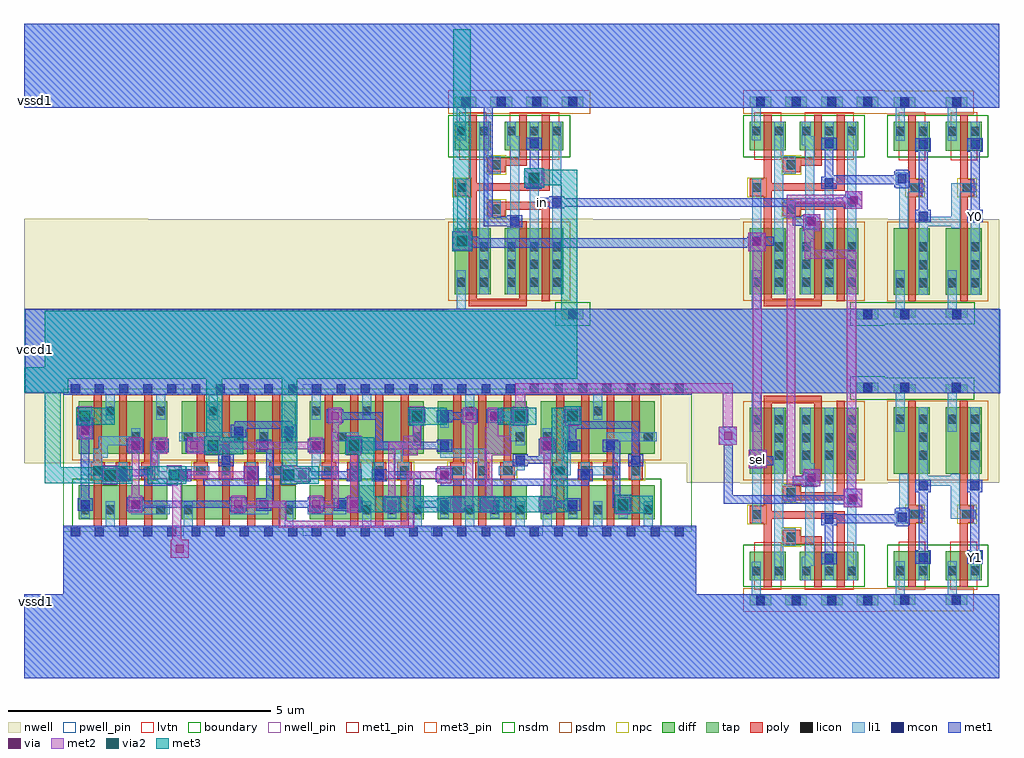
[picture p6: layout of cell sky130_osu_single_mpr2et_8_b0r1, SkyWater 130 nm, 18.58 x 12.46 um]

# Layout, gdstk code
import gdstk
lib = gdstk.Library(unit=1e-6, precision=1e-09)
def R(c, l, rs):  # rectangles x0, y0, x1, y1
    for r in rs: c.add(gdstk.rectangle(r[:2], r[2:], *l))
def A(c, l, x, y, w, h, nx, ny, dx, dy):  # array of equal rectangles
    R(c, l, [(x+i*dx, y+j*dy, x+i*dx+w, y+j*dy+h) for i in range(nx) for j in range(ny)])
nwell_pin = (64, 16)
nwell = (64, 20)
diff = (65, 20)
tap = (65, 44)
poly = (66, 20)
licon = (66, 44)
li1 = (67, 20)
mcon = (67, 44)
met1_pin = (68, 16)
met1 = (68, 20)
via = (68, 44)
met2 = (69, 20)
via2 = (69, 44)
met3_pin = (70, 16)
met3 = (70, 20)
nsdm = (93, 44)
psdm = (94, 20)
npc = (95, 20)
pwell_pin = (122, 16)
lvtn = (125, 44)
boundary = (235, 4)

sky130_osu_sc_12t_hs__mu = lib.new_cell('sky130_osu_sc_12T_hs__mux2_1')
R(sky130_osu_sc_12t_hs__mu, nwell, [(-0.05,2.42,2.76,4.51)])
R(sky130_osu_sc_12t_hs__mu, diff, [(0.13,0.57,0.815,1.12), (1.085,0.57,2.2,1.12), (0.13,2.6,0.815,3.86), (1.085,2.6,2.2,3.86)])
A(sky130_osu_sc_12t_hs__mu, tap, 0.13, 0.1, 0.41, 0.2, 4, 1, 0.68, 0)
R(sky130_osu_sc_12t_hs__mu, tap, [(2.17,4.13,2.58,4.33)])
R(sky130_osu_sc_12t_hs__mu, poly, [(0.4,0.44,0.55,1.66), (1.355,0.44,1.505,1.26), (1.785,0.44,1.935,1.74), (0.76,1.26,1.505,1.41), (0.76,1.41,1.095,1.53), (0.13,1.66,0.55,1.74), (0.13,1.74,1.935,1.89), (0.13,1.89,0.55,1.99), (0.4,1.99,0.55,3.94), (0.76,2.1,1.935,2.25), (0.76,2.25,1.095,2.37), (1.785,2.25,1.935,3.99), (1.355,2.47,1.505,3.94), (0.4,3.94,1.505,4.09)])
A(sky130_osu_sc_12t_hs__mu, licon, 0.25, 0.13, 0.17, 0.17, 4, 1, 0.68, 0)
A(sky130_osu_sc_12t_hs__mu, licon, 0.605, 2.865, 0.17, 0.17, 1, 3, 0, 0.34)
A(sky130_osu_sc_12t_hs__mu, licon, 1.125, 2.865, 0.17, 0.17, 1, 3, 0, 0.34)
A(sky130_osu_sc_12t_hs__mu, licon, 1.56, 2.865, 0.17, 0.17, 1, 3, 0, 0.34)
A(sky130_osu_sc_12t_hs__mu, licon, 1.99, 2.865, 0.17, 0.17, 1, 3, 0, 0.34)
R(sky130_osu_sc_12t_hs__mu, licon, [(0.17,0.665,0.34,0.835), (0.605,0.665,0.775,0.835), (1.125,0.665,1.295,0.835), (1.56,0.665,1.73,0.835), (1.99,0.665,2.16,0.835), (0.84,1.31,1.01,1.48), (0.18,1.74,0.35,1.91), (0.84,2.15,1.01,2.32), (0.17,3.545,0.34,3.715), (2.29,4.13,2.46,4.3)])
R(sky130_osu_sc_12t_hs__mu, li1, [(0,0,2.75,0.3), (0.17,0.3,0.34,0.93), (0.6,0.57,0.775,1.06), (1.125,0.57,1.295,0.85), (1.555,0.57,1.73,1.08), (1.985,0.57,2.16,1.12), (1.125,0.85,1.355,1.02), (1.185,1.02,1.355,2.63), (0.6,1.06,0.77,1.23), (1.985,1.12,2.155,2.72), (0.6,1.23,1.01,1.56), (0.6,1.56,0.77,2.07), (1.555,1.65,1.725,2.6), (0.18,1.66,0.35,2.93), (0.6,2.07,1.01,2.4), (0.6,2.4,0.77,2.6), (0.6,2.6,0.775,3.86), (1.555,2.6,1.73,3.86), (1.125,2.63,1.355,2.8), (1.985,2.72,2.16,3.86), (1.125,2.8,1.295,3.86), (0.17,3.4,0.34,4.13), (0,4.13,2.75,4.44)])
A(sky130_osu_sc_12t_hs__mu, mcon, 0.25, 0.1, 0.17, 0.17, 4, 1, 0.68, 0)
R(sky130_osu_sc_12t_hs__mu, mcon, [(1.555,0.91,1.725,1.08), (1.555,1.65,1.725,1.82), (1.985,2.02,2.155,2.19), (1.185,2.38,1.355,2.55), (0.18,2.76,0.35,2.93), (2.29,4.16,2.46,4.33)])
R(sky130_osu_sc_12t_hs__mu, met1, [(0,0,2.75,0.3), (1.495,0.88,1.785,1.11), (1.555,1.11,1.725,1.62), (1.495,1.62,1.785,1.85), (1.925,1.99,2.215,2.02), (1.755,2.02,2.215,2.19), (1.925,2.19,2.215,2.22), (1.125,2.35,1.415,2.38), (0.95,2.38,1.415,2.55), (1.125,2.55,1.415,2.58), (0.12,2.73,0.41,2.76), (0.12,2.76,0.58,2.93), (0.12,2.93,0.41,2.96), (0,4.13,2.75,4.44)])
R(sky130_osu_sc_12t_hs__mu, nsdm, [(0.005,0.445,2.325,1.245), (2.045,4.005,2.705,4.455)])
R(sky130_osu_sc_12t_hs__mu, psdm, [(0.005,-0.025,2.705,0.425), (0.005,2.475,2.325,3.985)])
R(sky130_osu_sc_12t_hs__mu, npc, [(0.74,1.21,1.11,1.58), (0.08,1.64,0.45,2.01), (0.74,2.05,1.11,2.42)])
R(sky130_osu_sc_12t_hs__mu, lvtn, [(0.22,0.39,0.73,1.3), (1.175,0.39,2.115,1.3)])
sky130_osu_sc_12t_hs__mu.add(gdstk.Label('S0', (0.27,2.85), layer=68, texttype=5))
sky130_osu_sc_12t_hs__mu.add(gdstk.Label('Y', (1.645,1.74), layer=68, texttype=5))
sky130_osu_sc_12t_hs__mu.add(gdstk.Label('A0', (1.265,2.47), layer=68, texttype=5))
sky130_osu_sc_12t_hs__mu.add(gdstk.Label('A1', (2.075,2.11), layer=68, texttype=5))
sky130_osu_sc_12t_hs__mu.add(gdstk.Label('vccd1', (2.38,4.2), layer=68, texttype=5))
sky130_osu_sc_12t_hs__mu.add(gdstk.Label('vssd1 ', (0.34,0.24), layer=68, texttype=5))

sky130_osu_sc_12t_hs__in = lib.new_cell('sky130_osu_sc_12T_hs__inv_1')
R(sky130_osu_sc_12t_hs__in, nwell, [(-0.05,2.42,0.995,4.51)])
R(sky130_osu_sc_12t_hs__in, diff, [(0.13,0.57,0.815,1.12), (0.13,2.6,0.815,3.86)])
R(sky130_osu_sc_12t_hs__in, tap, [(0.13,0.1,0.54,0.3), (0.13,4.13,0.55,4.3)])
R(sky130_osu_sc_12t_hs__in, poly, [(0.4,0.44,0.55,1.66), (0.4,1.66,0.67,1.99), (0.4,1.99,0.55,3.99)])
A(sky130_osu_sc_12t_hs__in, licon, 0.605, 2.865, 0.17, 0.17, 1, 3, 0, 0.34)
R(sky130_osu_sc_12t_hs__in, licon, [(0.25,0.13,0.42,0.3), (0.17,0.665,0.34,0.835), (0.605,0.665,0.775,0.835), (0.45,1.74,0.62,1.91), (0.17,3.545,0.34,3.715), (0.25,4.13,0.42,4.3)])
R(sky130_osu_sc_12t_hs__in, li1, [(0,0,0.99,0.3), (0.17,0.3,0.34,0.93), (0.605,0.57,0.775,1.08), (0.23,1.74,0.7,1.91), (0.23,1.91,0.4,2.6), (0.6,2.28,0.77,2.715), (0.6,2.715,0.775,3.86), (0.17,3.4,0.34,4.13), (0,4.13,0.99,4.44)])
R(sky130_osu_sc_12t_hs__in, mcon, [(0.25,0.1,0.42,0.27), (0.605,0.91,0.775,1.08), (0.6,2.28,0.77,2.45), (0.25,4.16,0.42,4.33)])
R(sky130_osu_sc_12t_hs__in, met1, [(0,0,0.99,0.3), (0.54,0.88,0.835,1.14), (0.6,1.14,0.77,2.24), (0.54,2.24,0.77,2.245), (0.54,2.245,0.83,2.48), (0,4.13,0.99,4.44)])
R(sky130_osu_sc_12t_hs__in, nsdm, [(0.005,0.445,0.94,1.245), (0.005,4.005,0.675,4.425)])
R(sky130_osu_sc_12t_hs__in, psdm, [(0.005,-0.025,0.665,0.425), (0.005,2.475,0.94,3.985)])
R(sky130_osu_sc_12t_hs__in, npc, [(0.35,1.64,0.72,2.01)])
R(sky130_osu_sc_12t_hs__in, lvtn, [(0.22,0.39,0.73,1.3)])
sky130_osu_sc_12t_hs__in.add(gdstk.Label('A', (0.32,1.85), layer=67, texttype=5))
sky130_osu_sc_12t_hs__in.add(gdstk.Label('Y', (0.75,1.72), layer=68, texttype=5))
sky130_osu_sc_12t_hs__in.add(gdstk.Label('vccd1', (0.34,4.2), layer=68, texttype=5))
sky130_osu_sc_12t_hs__in.add(gdstk.Label('vssd1', (0.34,0.24), layer=68, texttype=5))

sky130_osu_sc_12t_hs__fi = lib.new_cell('sky130_osu_sc_12T_hs__fill_8')
R(sky130_osu_sc_12t_hs__fi, nwell, [(-0.045,2.425,0.895,4.485)])
R(sky130_osu_sc_12t_hs__fi, li1, [(0,0,0.88,0.305), (0,4.135,0.88,4.44)])
R(sky130_osu_sc_12t_hs__fi, met1, [(0,0,0.88,0.305), (0,4.135,0.88,4.44)])
sky130_osu_sc_12t_hs__fi.add(gdstk.Label('vccd1', (0.555,4.295), layer=68, texttype=5))
sky130_osu_sc_12t_hs__fi.add(gdstk.Label('vssd1', (0.56,0.14), layer=68, texttype=5))

c_sky130_osu_sc_12t_hs__fi = lib.new_cell('sky130_osu_sc_12T_hs__fill_2')
R(c_sky130_osu_sc_12t_hs__fi, nwell, [(-0.035,2.425,0.25,4.485)])
R(c_sky130_osu_sc_12t_hs__fi, li1, [(0,0,0.22,0.305), (0,4.135,0.22,4.44)])
R(c_sky130_osu_sc_12t_hs__fi, met1, [(0,0,0.22,0.305), (0,4.135,0.22,4.44)])
c_sky130_osu_sc_12t_hs__fi.add(gdstk.Label('vccd1', (0.11,4.28), layer=68, texttype=5))
c_sky130_osu_sc_12t_hs__fi.add(gdstk.Label('vssd1', (0.115,0.14), layer=68, texttype=5))

scs130hd_mpr2et_8 = lib.new_cell('scs130hd_mpr2et_8')
A(scs130hd_mpr2et_8, nwell_pin, 2.12, 2.63, 0.17, 0.17, 3, 1, 2.44, 0)
R(scs130hd_mpr2et_8, nwell_pin, [(0.16,2.63,0.33,2.8), (8.96,2.63,9.13,2.8)])
R(scs130hd_mpr2et_8, nwell, [(-0.24,1.3,12.2,2.91)])
R(scs130hd_mpr2et_8, diff, [(0.29,0.23,1.98,0.88), (2.25,0.23,4.42,0.88), (4.69,0.23,6.86,0.88), (7.13,0.23,8.82,0.88), (9.09,0.23,11.26,0.88), (0.29,1.48,1.98,2.48), (2.25,1.48,4.42,2.48), (4.69,1.48,6.86,2.48), (7.13,1.48,8.82,2.48), (9.09,1.48,11.26,2.48)])
A(scs130hd_mpr2et_8, poly, 0.58, 0.1, 0.15, 0.89, 3, 1, 0.48, 0)
A(scs130hd_mpr2et_8, poly, 2.54, 0.1, 0.15, 0.89, 4, 1, 0.48, 0)
A(scs130hd_mpr2et_8, poly, 4.98, 0.1, 0.15, 0.89, 4, 1, 0.48, 0)
A(scs130hd_mpr2et_8, poly, 7.42, 0.1, 0.15, 0.89, 3, 1, 0.48, 0)
A(scs130hd_mpr2et_8, poly, 9.38, 0.1, 0.15, 0.89, 4, 1, 0.48, 0)
A(scs130hd_mpr2et_8, poly, 0.52, 0.99, 0.27, 0.33, 3, 1, 0.48, 0)
A(scs130hd_mpr2et_8, poly, 2.48, 0.99, 0.27, 0.33, 4, 1, 0.48, 0)
A(scs130hd_mpr2et_8, poly, 4.92, 0.99, 0.27, 0.33, 4, 1, 0.48, 0)
A(scs130hd_mpr2et_8, poly, 7.36, 0.99, 0.27, 0.33, 3, 1, 0.48, 0)
A(scs130hd_mpr2et_8, poly, 9.32, 0.99, 0.27, 0.33, 4, 1, 0.48, 0)
A(scs130hd_mpr2et_8, poly, 0.58, 1.32, 0.15, 1.29, 3, 1, 0.48, 0)
A(scs130hd_mpr2et_8, poly, 2.54, 1.32, 0.15, 1.29, 4, 1, 0.48, 0)
A(scs130hd_mpr2et_8, poly, 4.98, 1.32, 0.15, 1.29, 4, 1, 0.48, 0)
A(scs130hd_mpr2et_8, poly, 7.42, 1.32, 0.15, 1.29, 3, 1, 0.48, 0)
A(scs130hd_mpr2et_8, poly, 9.38, 1.32, 0.15, 1.29, 4, 1, 0.48, 0)
A(scs130hd_mpr2et_8, licon, 2.29, 0.33, 0.17, 0.17, 3, 1, 0.96, 0)
A(scs130hd_mpr2et_8, licon, 5.69, 0.33, 0.17, 0.17, 3, 1, 0.48, 0)
A(scs130hd_mpr2et_8, licon, 7.17, 0.33, 0.17, 0.17, 4, 1, 0.48, 0)
A(scs130hd_mpr2et_8, licon, 9.13, 0.33, 0.17, 0.17, 5, 1, 0.48, 0)
A(scs130hd_mpr2et_8, licon, 0.57, 1.07, 0.17, 0.17, 3, 1, 0.48, 0)
A(scs130hd_mpr2et_8, licon, 2.53, 1.07, 0.17, 0.17, 4, 1, 0.48, 0)
A(scs130hd_mpr2et_8, licon, 4.97, 1.07, 0.17, 0.17, 4, 1, 0.48, 0)
A(scs130hd_mpr2et_8, licon, 7.41, 1.07, 0.17, 0.17, 3, 1, 0.48, 0)
A(scs130hd_mpr2et_8, licon, 9.37, 1.07, 0.17, 0.17, 4, 1, 0.48, 0)
A(scs130hd_mpr2et_8, licon, 3.25, 1.72, 0.17, 0.17, 3, 1, 0.48, 0)
R(scs130hd_mpr2et_8, licon, [(0.33,0.33,0.5,0.5), (0.81,0.33,0.98,0.5), (1.77,0.33,1.94,0.5), (4.73,0.33,4.9,0.5), (1.29,1.72,1.46,1.89), (2.29,1.72,2.46,1.89), (5.21,1.72,5.38,1.89), (6.65,1.72,6.82,1.89), (8.61,1.72,8.78,1.89), (9.13,1.72,9.3,1.89), (11.05,1.72,11.22,1.89), (0.33,1.86,0.5,2.03), (7.17,2.06,7.34,2.23), (0.81,2.21,0.98,2.38), (1.77,2.21,1.94,2.38), (2.77,2.21,2.94,2.38), (4.73,2.21,4.9,2.38), (5.69,2.21,5.86,2.38), (7.65,2.21,7.82,2.38), (10.09,2.21,10.26,2.38)])
A(scs130hd_mpr2et_8, li1, 9.13, 0.08, 0.17, 0.5, 3, 1, 0.96, 0)
R(scs130hd_mpr2et_8, li1, [(0,-0.09,11.96,0.08), (0.81,0.08,0.98,0.58), (2.29,0.08,2.46,0.58), (4.21,0.08,4.38,0.58), (5.69,0.08,5.86,0.58), (6.65,0.08,6.82,0.58), (7.65,0.08,7.82,0.58), (8.61,0.08,8.78,0.58), (0.33,0.25,0.5,0.6), (6.17,0.25,6.34,0.6), (7.17,0.25,7.34,0.6), (8.13,0.25,8.3,0.6), (9.61,0.25,9.78,0.6), (10.57,0.25,10.74,0.6), (1.29,0.33,2.02,0.5), (3.17,0.33,3.9,0.5), (4.65,0.33,5.38,0.5), (1.29,0.5,1.46,0.6), (3.73,0.5,3.9,0.6), (5.21,0.5,5.38,0.6), (0.57,0.99,0.74,1.07), (1.05,0.99,1.22,1.32), (2.2,0.99,2.37,1.07), (3.01,0.99,3.18,1.44), (3.49,0.99,3.66,1.32), (4.21,0.99,4.38,1.07), (5.45,0.99,5.62,1.32), (5.93,0.99,6.1,1.32), (6.41,0.99,6.58,1.07), (7.17,0.99,7.34,1.07), (7.89,0.99,8.06,1.41), (9.85,0.99,10.02,1.07), (10.81,0.99,10.98,1.44), (0.33,1.07,0.74,1.34), (1.45,1.07,1.82,1.24), (2.2,1.07,2.78,1.24), (3.89,1.07,4.38,1.24), (4.73,1.07,5.22,1.24), (6.29,1.07,6.58,1.32), (7.17,1.07,7.66,1.24), (8.29,1.07,8.62,1.17), (9.29,1.07,9.66,1.24), (9.85,1.07,10.58,1.24), (8.29,1.17,8.78,1.24), (1.65,1.24,1.82,1.55), (4.73,1.24,4.9,1.72), (8.37,1.24,8.78,1.34), (9.49,1.24,9.66,1.55), (9.85,1.24,10.02,1.32), (6.29,1.32,6.46,1.55), (0.57,1.34,0.74,1.41), (8.61,1.34,8.78,1.44), (0.57,1.41,0.84,1.58), (7.17,1.41,8.06,1.58), (1.29,1.55,1.46,1.64), (1.65,1.55,1.94,1.72), (3.73,1.55,3.9,1.97), (5.45,1.55,6.46,1.72), (9.13,1.55,9.3,1.97), (9.49,1.55,9.78,1.72), (10.33,1.55,10.5,1.72), (0.67,1.58,0.84,1.64), (7.17,1.58,7.34,1.72), (0.67,1.64,1.46,1.81), (4.21,1.64,4.38,2), (6.65,1.64,6.82,2.28), (8.61,1.64,8.78,1.72), (2.21,1.72,3.5,1.89), (5.13,1.72,5.62,1.89), (8.49,1.72,8.78,2.11), (9.49,1.72,9.66,2.11), (10.33,1.72,11.3,1.89), (0.33,1.78,0.5,2.14), (1.29,1.81,1.46,1.97), (3.25,1.89,3.42,2), (7.17,1.98,7.34,2.31), (8.13,2.11,8.78,2.28), (9.49,2.11,9.78,2.28), (0.81,2.13,0.98,2.63), (1.77,2.13,1.94,2.63), (2.77,2.13,2.94,2.63), (4.73,2.13,4.9,2.63), (5.69,2.13,5.86,2.63), (7.65,2.13,7.82,2.63), (10.09,2.13,10.26,2.63), (0,2.63,11.96,2.8)])
A(scs130hd_mpr2et_8, mcon, 0.14, -0.09, 0.17, 0.17, 26, 2, 0.46, 2.72)
A(scs130hd_mpr2et_8, mcon, 7.17, 0.43, 0.17, 0.17, 1, 4, 0, 0.56)
R(scs130hd_mpr2et_8, mcon, [(0.33,0.43,0.5,0.6), (1.29,0.43,1.46,0.6), (3.73,0.43,3.9,0.6), (5.21,0.43,5.38,0.6), (6.17,0.43,6.34,0.6), (8.13,0.43,8.3,0.6), (9.61,0.43,9.78,0.6), (10.57,0.43,10.74,0.6), (1.05,0.99,1.22,1.16), (2.2,0.99,2.37,1.16), (3.49,0.99,3.66,1.16), (4.21,0.99,4.38,1.16), (5.45,0.99,5.62,1.16), (5.93,0.99,6.1,1.16), (9.85,0.99,10.02,1.16), (3.01,1.27,3.18,1.44), (8.61,1.27,8.78,1.44), (10.81,1.27,10.98,1.44), (1.29,1.55,1.46,1.72), (1.77,1.55,1.94,1.72), (3.73,1.55,3.9,1.72), (4.73,1.55,4.9,1.72), (5.45,1.55,5.62,1.72), (9.13,1.55,9.3,1.72), (9.61,1.55,9.78,1.72), (10.33,1.55,10.5,1.72), (3.25,1.83,3.42,2), (4.21,1.83,4.38,2), (0.33,1.97,0.5,2.14), (6.65,2.11,6.82,2.28), (8.13,2.11,8.3,2.28), (8.61,2.11,8.78,2.28), (9.61,2.11,9.78,2.28)])
R(scs130hd_mpr2et_8, met1_pin, [(0.15,-0.08,0.32,0.08), (0.15,2.63,0.32,2.8)])
R(scs130hd_mpr2et_8, met1, [(0,-0.24,11.96,0.11), (1.21,0.39,1.53,0.45), (3.17,0.39,3.49,0.45), (4.65,0.39,4.97,0.45), (5.37,0.39,5.69,0.4), (6.09,0.39,6.41,0.65), (7.33,0.39,7.65,0.4), (7.93,0.39,8.61,0.65), (9.05,0.39,9.37,0.45), (10.49,0.39,10.81,0.45), (0.27,0.4,0.56,0.63), (3.67,0.4,3.96,0.45), (5.15,0.4,5.69,0.63), (7.11,0.4,7.65,0.45), (9.55,0.4,9.84,0.45), (1.21,0.45,3.49,0.59), (3.67,0.45,4.97,0.59), (6.66,0.45,7.65,0.59), (9.05,0.45,9.84,0.59), (10.46,0.45,10.81,0.65), (1.21,0.59,1.53,0.65), (3.17,0.59,3.49,0.65), (3.67,0.59,4,0.63), (4.65,0.59,4.97,0.65), (6.66,0.59,6.8,1.01), (7.11,0.59,7.65,0.63), (9.05,0.59,9.37,0.65), (9.55,0.59,9.84,0.63), (0.33,0.63,0.49,1.76), (3.86,0.63,4,1.52), (5.37,0.63,5.69,0.65), (7.33,0.63,7.65,0.65), (10.46,0.65,10.6,1.52), (1.54,0.87,2.18,0.96), (2.66,0.87,3.72,1.01), (7.18,0.87,10,0.95), (0.73,0.95,1.05,0.96), (4.39,0.95,4.71,0.96), (7.09,0.95,10,0.96), (0.73,0.96,1.28,1.05), (1.54,0.96,2.43,1.01), (4.15,0.96,4.71,1.01), (5.39,0.96,5.68,1.01), (5.87,0.96,6.16,1.01), (7.09,0.96,10.08,1.01), (1.54,1.01,1.68,1.05), (2.04,1.01,2.43,1.15), (3.43,1.01,3.72,1.24), (4.15,1.01,5.68,1.15), (5.87,1.01,6.8,1.15), (7.09,1.01,7.41,1.21), (9.79,1.01,10.08,1.19), (0.73,1.05,1.68,1.19), (2.14,1.15,2.43,1.19), (4.15,1.15,4.71,1.19), (5.39,1.15,5.68,1.19), (5.87,1.15,6.16,1.19), (0.73,1.19,1.05,1.21), (4.39,1.19,4.71,1.21), (2.95,1.24,3.24,1.47), (8.55,1.24,8.84,1.29), (10.75,1.24,11.04,1.47), (8.55,1.29,9.28,1.43), (8.55,1.43,8.84,1.47), (9.05,1.43,9.28,1.51), (2.95,1.47,3.16,1.51), (10.82,1.47,10.96,1.96), (1.21,1.51,1.53,1.77), (1.69,1.51,2.01,1.77), (2.33,1.51,3.16,1.65), (4.65,1.51,4.97,1.77), (5.37,1.51,5.69,1.77), (9.05,1.51,9.37,1.77), (3.67,1.52,4,1.71), (7.11,1.52,7.4,1.57), (9.55,1.52,9.84,1.75), (10.27,1.52,10.6,1.71), (5.94,1.57,7.4,1.71), (2.33,1.65,2.65,1.77), (3.67,1.71,3.96,1.75), (5.94,1.71,6.08,2.13), (7.11,1.71,7.4,1.75), (10.27,1.71,10.56,1.75), (9.62,1.75,9.76,1.96), (0.25,1.76,0.57,2.17), (3.19,1.8,3.48,1.96), (4.15,1.8,4.44,1.96), (3.19,1.96,4.44,2.03), (9.62,1.96,10.96,2.07), (3.26,2.03,4.36,2.1), (5.01,2.07,5.33,2.13), (6.57,2.07,6.89,2.33), (7.57,2.07,7.89,2.13), (8.05,2.07,8.37,2.33), (8.53,2.07,8.85,2.33), (9.53,2.07,10.96,2.1), (7.11,2.08,7.4,2.13), (9.53,2.1,9.85,2.33), (5.01,2.13,6.08,2.27), (7.11,2.13,7.89,2.27), (5.01,2.27,5.33,2.33), (7.11,2.27,7.4,2.31), (7.57,2.27,7.89,2.33), (0,2.6,11.96,2.96)])
A(scs130hd_mpr2et_8, via, 4.735, 0.445, 0.15, 0.15, 3, 1, 0.72, 0)
A(scs130hd_mpr2et_8, via, 7.655, 2.125, 0.15, 0.15, 3, 1, 0.48, 0)
R(scs130hd_mpr2et_8, via, [(1.295,0.445,1.445,0.595), (3.255,0.445,3.405,0.595), (7.415,0.445,7.565,0.595), (8.015,0.445,8.165,0.595), (9.135,0.445,9.285,0.595), (10.575,0.445,10.725,0.595), (0.815,1.005,0.965,1.155), (3.495,1.005,3.645,1.155), (4.475,1.005,4.625,1.155), (7.175,1.005,7.325,1.155), (1.295,1.565,1.445,1.715), (1.775,1.565,1.925,1.715), (2.415,1.565,2.565,1.715), (4.735,1.565,4.885,1.715), (5.455,1.565,5.605,1.715), (9.135,1.565,9.285,1.715), (0.335,1.845,0.485,1.995), (5.095,2.125,5.245,2.275), (6.655,2.125,6.805,2.275), (9.615,2.125,9.765,2.275)])
R(scs130hd_mpr2et_8, met2, [(4.1,0.07,6.68,0.21), (4.1,0.21,4.24,0.45), (6.54,0.21,6.68,1.01), (10.51,0.33,10.79,0.705), (1.24,0.36,1.5,0.68), (3.2,0.36,3.46,0.45), (4.68,0.36,4.94,0.45), (5.4,0.36,5.66,0.68), (6.12,0.36,6.38,0.68), (7.36,0.36,7.62,0.45), (7.96,0.36,8.22,0.68), (9.08,0.36,9.34,0.68), (3.2,0.45,4.24,0.59), (4.68,0.45,5.24,0.59), (7.36,0.45,7.8,0.68), (3.2,0.59,3.46,0.68), (4.68,0.59,4.94,0.68), (5.1,0.59,5.24,2.04), (1.3,0.68,1.44,1.48), (5.46,0.68,5.6,1.45), (6.18,0.68,6.32,1.57), (7.66,0.68,7.8,2.04), (8.02,0.68,8.16,1.45), (9.14,0.68,9.28,1.48), (0.75,0.89,1.03,1.265), (1.97,0.89,2.25,1.01), (4.15,0.89,4.43,0.92), (3.44,0.92,3.7,1.01), (4.15,0.92,4.68,1.24), (7.12,0.92,7.38,1.01), (1.66,1.01,3.7,1.15), (6.54,1.01,7.38,1.15), (1.66,1.15,1.8,1.48), (1.97,1.15,2.25,1.265), (3.44,1.15,3.7,1.24), (7.12,1.15,7.38,1.24), (4.15,1.24,4.43,1.265), (2.71,1.45,2.99,1.48), (5.39,1.45,5.67,1.825), (6.47,1.45,6.75,1.57), (8.02,1.45,8.52,1.82), (1.24,1.48,1.5,1.8), (1.66,1.48,1.98,1.71), (2.36,1.48,2.99,1.57), (4.68,1.48,4.94,1.57), (9.08,1.48,9.34,1.8), (2.36,1.57,4.94,1.71), (6.18,1.57,6.8,1.71), (1.72,1.71,1.98,1.8), (2.36,1.71,2.99,1.8), (4.68,1.71,4.94,1.8), (6.47,1.71,6.8,1.82), (0.28,1.76,0.54,2.01), (2.71,1.8,2.99,1.825), (6.66,1.82,6.8,2.01), (8.02,1.82,8.28,1.99), (8.08,1.99,8.28,2.04), (0.27,2.01,0.55,2.385), (6.59,2.01,6.87,2.385), (8.55,2.01,8.83,2.385), (9.55,2.01,9.83,2.385), (5.04,2.04,5.3,2.36), (7.6,2.04,7.86,2.36), (8.08,2.04,8.34,2.36)])
R(scs130hd_mpr2et_8, via2, [(10.55,0.42,10.75,0.62), (0.79,0.98,0.99,1.18), (2.01,0.98,2.21,1.18), (4.19,0.98,4.39,1.18), (2.75,1.54,2.95,1.74), (5.43,1.54,5.63,1.74), (0.31,2.1,0.51,2.3), (6.63,2.1,6.83,2.3), (8.59,2.1,8.79,2.3), (9.59,2.1,9.79,2.3)])
R(scs130hd_mpr2et_8, met3_pin, [(10.49,0.35,11.22,0.68), (0.58,0.91,1.31,1.24), (1.61,0.91,2.34,1.24), (4.13,0.91,4.86,1.24), (2.69,1.47,3.42,1.8), (0.25,2.03,0.98,2.36), (6.57,2.03,7.3,2.36), (8.27,2.03,9,2.36)])
R(scs130hd_mpr2et_8, met3, [(10.485,0.345,10.81,0.35), (10.485,0.35,11.22,0.68), (5.62,0.37,9.6,0.67), (5.62,0.67,5.92,1.465), (9.3,0.67,9.6,2.03), (10.485,0.68,10.81,0.685), (1.95,0.905,2.275,0.91), (4.125,0.905,4.45,0.91), (0.58,0.91,1.31,1.24), (1.61,0.91,2.34,1.24), (4.125,0.91,4.86,1.24), (0.58,1.24,1.1,1.245), (1.95,1.24,2.275,1.245), (4.125,1.24,4.45,1.245), (2.685,1.465,3.015,1.47), (5.365,1.465,5.92,1.8), (2.685,1.47,3.42,1.8), (2.685,1.8,3.015,1.805), (5.365,1.8,5.685,1.805), (0.245,2.025,0.57,2.03), (6.565,2.025,6.895,2.03), (8.53,2.025,8.855,2.03), (0.245,2.03,0.98,2.36), (6.565,2.03,7.3,2.36), (8.27,2.03,9,2.36), (9.3,2.03,9.86,2.36), (0.245,2.36,0.57,2.365), (6.565,2.36,6.895,2.365), (8.53,2.36,8.855,2.365), (9.535,2.36,9.855,2.365)])
R(scs130hd_mpr2et_8, nsdm, [(0.165,0.105,11.385,1.005)])
R(scs130hd_mpr2et_8, psdm, [(0.165,1.355,11.385,2.605)])
R(scs130hd_mpr2et_8, npc, [(0.47,0.97,1.8,1.34), (2.43,0.97,4.24,1.34), (4.87,0.97,6.68,1.34), (7.31,0.97,8.64,1.34), (9.27,0.97,11.08,1.34)])
A(scs130hd_mpr2et_8, pwell_pin, 2.12, -0.08, 0.17, 0.16, 3, 1, 2.44, 0)
R(scs130hd_mpr2et_8, pwell_pin, [(0.16,-0.08,0.33,0.08), (8.96,-0.08,9.13,0.08)])
R(scs130hd_mpr2et_8, boundary, [(0,0,11.96,2.72)])
scs130hd_mpr2et_8.add(gdstk.Label('VPB', (0.245,2.715), layer=64, texttype=5))
scs130hd_mpr2et_8.add(gdstk.Label('VPB', (2.205,2.715), layer=64, texttype=5))
scs130hd_mpr2et_8.add(gdstk.Label('VPB', (4.645,2.715), layer=64, texttype=5))
scs130hd_mpr2et_8.add(gdstk.Label('VPB', (7.085,2.715), layer=64, texttype=5))
scs130hd_mpr2et_8.add(gdstk.Label('VPB', (9.045,2.715), layer=64, texttype=5))
scs130hd_mpr2et_8.add(gdstk.Label('VNB', (0.245,0), layer=64, texttype=59))
scs130hd_mpr2et_8.add(gdstk.Label('VNB', (2.205,0), layer=64, texttype=59))
scs130hd_mpr2et_8.add(gdstk.Label('VNB', (4.645,0), layer=64, texttype=59))
scs130hd_mpr2et_8.add(gdstk.Label('VNB', (7.085,0), layer=64, texttype=59))
scs130hd_mpr2et_8.add(gdstk.Label('VNB', (9.045,0), layer=64, texttype=59))
scs130hd_mpr2et_8.add(gdstk.Label('vpwr', (0.235,2.715), layer=68, texttype=5))
scs130hd_mpr2et_8.add(gdstk.Label('vgnd', (0.235,0), layer=68, texttype=5))
scs130hd_mpr2et_8.add(gdstk.Label('B0', (1.975,1.075), layer=70, texttype=5))
scs130hd_mpr2et_8.add(gdstk.Label('A0', (0.945,1.075), layer=70, texttype=5))
scs130hd_mpr2et_8.add(gdstk.Label('B1', (3.055,1.635), layer=70, texttype=5))
scs130hd_mpr2et_8.add(gdstk.Label('R1', (8.635,2.195), layer=70, texttype=5))
scs130hd_mpr2et_8.add(gdstk.Label('R2', (6.935,2.195), layer=70, texttype=5))
scs130hd_mpr2et_8.add(gdstk.Label('R0', (0.615,2.195), layer=70, texttype=5))
scs130hd_mpr2et_8.add(gdstk.Label('R3', (10.855,0.515), layer=70, texttype=5))
scs130hd_mpr2et_8.add(gdstk.Label('A1', (4.495,1.075), layer=70, texttype=5))

sky130_osu_single_mpr2et = lib.new_cell('sky130_osu_single_mpr2et_8_b0r1')
R(sky130_osu_single_mpr2et, nwell, [(12.615,3.72,13.685,5.43), (18.34,3.72,18.565,5.6), (17.595,3.965,17.745,4.14), (13.795,4,14.135,4.35), (0.005,4.1,0.75,5.435), (2.23,4.25,2.79,5.435), (1.02,5.175,1.3,5.18), (12.605,5.43,13.735,5.6), (0.005,5.435,2.79,5.575), (0.005,5.575,3.08,5.6), (0.005,5.6,18.565,8.745), (0.005,8.745,2.37,8.75)])
R(sky130_osu_single_mpr2et, diff, [(18.02,2.21,18.19,2.38)])
R(sky130_osu_single_mpr2et, li1, [(0,0,18.565,1.6), (0.75,1.6,12.795,2.72), (18.02,2.21,18.19,2.38), (0.925,2.72,12.795,2.745), (3.105,2.745,3.3,2.875), (5.405,2.745,5.6,2.875), (7.24,2.745,7.435,2.86), (9.08,2.745,9.275,2.875), (10.93,2.745,11.13,2.865), (12.6,2.745,12.795,2.86), (12.605,2.86,12.795,2.875), (3.105,2.875,3.21,2.89), (16.605,2.955,16.835,3.185), (17.195,3.665,17.69,3.86), (17.2,3.86,17.205,4.025), (18.02,4.99,18.19,5.16), (16.42,5.425,16.645,5.435), (12.605,5.43,13.735,5.435), (18.385,5.43,18.565,5.435), (0.005,5.435,18.565,7.035), (16.43,7.035,16.61,7.04), (18.025,7.305,18.195,7.475), (17.2,8.45,17.205,8.61), (17.195,8.61,17.72,8.79), (18.02,8.715,18.19,8.885), (16.6,9.395,16.83,9.625), (0.005,10.865,18.57,12.465)])
R(sky130_osu_single_mpr2et, mcon, [(18.02,2.21,18.19,2.38), (16.635,2.985,16.805,3.155), (18.02,8.715,18.19,8.885), (16.63,9.425,16.8,9.595)])
R(sky130_osu_single_mpr2et, met1_pin, [(18.02,2.21,18.19,2.38), (18.02,8.715,18.19,8.885), (9.825,8.975,9.925,9.145)])
R(sky130_osu_single_mpr2et, met1, [(0,0,18.57,1.6), (0.75,1.6,12.795,2.72), (18.02,2.21,18.19,2.38), (0.925,2.72,12.795,2.745), (3.105,2.745,3.3,2.875), (5.405,2.745,5.6,2.875), (7.24,2.745,7.435,2.86), (9.08,2.745,9.275,2.88), (12.6,2.745,12.795,2.86), (12.605,2.86,12.795,2.905), (3.105,2.875,3.21,2.88), (16.605,2.895,16.835,2.915), (16.575,2.915,16.865,2.95), (15.24,2.95,16.865,3.115), (15.24,3.115,15.41,3.12), (15.47,3.115,16.865,3.12), (16.575,3.12,16.865,3.225), (16.605,3.225,16.835,3.245), (15.61,3.26,15.96,3.32), (13.32,3.32,15.96,3.49), (13.32,3.49,13.49,4.445), (15.61,3.49,15.96,3.61), (14.835,3.66,15.155,3.69), (14.805,3.69,15.155,3.86), (14.835,3.86,15.155,3.98), (13.795,4,14.135,4.35), (13.23,4.445,13.57,4.795), (0.02,5.425,18.58,7.025), (10.725,7.025,10.97,7.035), (13.785,8.135,14.125,8.235), (8.165,8.15,8.515,8.2), (8.165,8.2,13.77,8.235), (8.165,8.235,14.27,8.38), (8.165,8.38,8.53,8.405), (13.77,8.38,14.27,8.405), (8.165,8.405,8.515,8.5), (13.785,8.405,14.125,8.485), (14.835,8.545,15.155,8.835), (8.755,8.605,9.205,8.775), (18.02,8.715,18.19,8.885), (8.755,8.775,9.03,8.78), (8.755,8.78,8.925,10.865), (17.19,8.8,17.2,8.81), (17.115,8.81,17.2,8.97), (15.635,8.945,15.96,8.975), (9.825,8.975,15.96,9.145), (15.635,9.145,15.96,9.27), (16.6,9.335,16.83,9.35), (9.525,9.345,9.905,9.715), (15.24,9.345,15.47,9.41), (16.57,9.35,16.86,9.41), (15.24,9.41,16.86,9.515), (15.47,9.515,16.86,9.545), (15.41,9.545,16.86,9.58), (16.57,9.58,16.86,9.655), (16.6,9.655,16.83,9.685), (0.005,10.865,18.57,12.465)])
R(sky130_osu_single_mpr2et, via, [(2.89,2.39,3.04,2.54), (15.71,3.36,15.86,3.51), (14.92,3.745,15.07,3.895), (13.895,4.1,14.045,4.25), (13.33,4.545,13.48,4.695), (13.885,8.235,14.035,8.385), (8.265,8.25,8.415,8.4), (14.92,8.615,15.07,8.765), (15.725,9.03,15.875,9.18), (9.635,9.455,9.785,9.605)])
R(sky130_osu_single_mpr2et, met2, [(2.795,2.295,3.135,2.635), (2.82,2.635,2.99,3.83), (15.61,3.26,15.96,3.61), (11.26,3.495,11.54,3.5), (15.665,3.61,15.84,7.985), (14.835,3.66,15.155,3.69), (14.52,3.69,15.155,3.86), (14.52,3.86,14.68,9.035), (14.835,3.86,15.155,3.98), (13.795,4,14.135,4.35), (4.9,4.05,5.18,4.06), (13.87,4.35,14.04,8.135), (13.32,4.44,13.49,4.445), (13.23,4.445,13.57,4.795), (3.46,4.615,3.74,4.62), (6.14,4.615,6.42,4.62), (13.3,4.795,13.49,5.43), (9.355,5.015,9.545,5.175), (1.02,5.175,1.3,5.18), (7.34,5.175,7.62,5.18), (9.3,5.175,9.58,5.18), (10.3,5.175,10.58,5.18), (9.355,5.18,9.545,5.43), (9.355,5.43,13.49,5.62), (14.865,7.985,15.84,8.16), (8.15,8.135,8.53,8.515), (13.785,8.135,14.125,8.485), (14.865,8.16,15.04,8.335), (14.865,8.335,15.035,8.51), (14.835,8.51,15.155,8.835), (15.635,8.945,15.96,9.035), (14.52,9.035,15.96,9.205), (15.635,9.205,15.96,9.27), (9.525,9.345,9.9,9.715)])
R(sky130_osu_single_mpr2et, via2, [(8.24,8.225,8.44,8.425), (9.61,9.43,9.81,9.63)])
R(sky130_osu_single_mpr2et, met3, [(11.235,3.14,11.56,3.5), (4.875,3.7,5.195,3.725), (0.395,3.715,1.725,4.015), (4.875,3.725,5.205,4.04), (0.395,4.015,0.695,5.435), (4.905,4.04,5.205,5.7), (3.435,4.26,3.755,4.405), (6.115,4.265,6.44,4.6), (3.435,4.405,3.77,4.6), (3.47,4.6,3.77,5.7), (7.315,4.82,7.65,5.16), (0.995,4.825,1.325,5.16), (9.28,5.125,9.6,5.16), (10.28,5.125,10.6,5.18), (0.005,5.435,0.845,5.7), (0.005,5.7,10.53,5.925), (0.395,5.925,10.53,6.995), (10.23,6.995,10.53,9.385), (8.15,8.135,8.53,8.515), (8.175,8.515,8.5,12.36), (9.525,9.345,9.9,9.385), (9.525,9.385,10.53,9.685), (9.525,9.685,9.9,9.715)])
R(sky130_osu_single_mpr2et, nsdm, [(17.37,1.745,17.42,2.545), (17.895,2.085,18.315,2.505), (16.39,5.305,16.435,5.725), (17.105,5.305,17.42,5.725), (16.39,6.74,16.435,7.16), (17.105,6.74,17.425,7.16), (17.37,9.92,17.425,10.72)])
R(sky130_osu_single_mpr2et, psdm, [(16.39,1.275,16.435,1.72), (17.095,1.275,17.42,1.725), (17.37,3.775,17.42,5.285), (17.37,7.18,17.425,8.69), (17.095,10.74,17.425,11.19), (16.39,10.745,16.435,11.19)])
sky130_osu_single_mpr2et.add(gdstk.Reference(sky130_osu_sc_12t_hs__mu, (13.685,11.17), x_reflection=True))
sky130_osu_single_mpr2et.add(gdstk.Reference(sky130_osu_sc_12t_hs__mu, (8.07,11.17), x_reflection=True))
sky130_osu_single_mpr2et.add(gdstk.Reference(sky130_osu_sc_12t_hs__mu, (13.685,1.295)))
sky130_osu_single_mpr2et.add(gdstk.Reference(sky130_osu_sc_12t_hs__in, (16.43,11.165), x_reflection=True))
sky130_osu_single_mpr2et.add(gdstk.Reference(sky130_osu_sc_12t_hs__in, (17.42,11.165), x_reflection=True))
sky130_osu_single_mpr2et.add(gdstk.Reference(sky130_osu_sc_12t_hs__in, (17.415,1.3)))
sky130_osu_single_mpr2et.add(gdstk.Reference(sky130_osu_sc_12t_hs__in, (16.43,1.3)))
sky130_osu_single_mpr2et.add(gdstk.Reference(sky130_osu_sc_12t_hs__fi, (11.725,11.17), x_reflection=True))
sky130_osu_single_mpr2et.add(gdstk.Reference(c_sky130_osu_sc_12t_hs__fi, (10.87,11.17), x_reflection=True))
sky130_osu_single_mpr2et.add(gdstk.Reference(scs130hd_mpr2et_8, (0.75,2.795)))
sky130_osu_single_mpr2et.add(gdstk.Label('vccd1', (0.225,6.255), layer=68, texttype=5))
sky130_osu_single_mpr2et.add(gdstk.Label('vccd1', (0.275,6.255), layer=68, texttype=5))
sky130_osu_single_mpr2et.add(gdstk.Label('vssd1', (0.225,11.01), layer=68, texttype=5))
sky130_osu_single_mpr2et.add(gdstk.Label('vssd1', (0.215,11.02), layer=68, texttype=5))
sky130_osu_single_mpr2et.add(gdstk.Label('vssd1', (0.23,1.455), layer=68, texttype=5))
sky130_osu_single_mpr2et.add(gdstk.Label('vssd1', (0.39,1.455), layer=68, texttype=5))
sky130_osu_single_mpr2et.add(gdstk.Label('in', (9.875,9.06), layer=68, texttype=5))
sky130_osu_single_mpr2et.add(gdstk.Label('Y0', (18.105,8.8), layer=68, texttype=5))
sky130_osu_single_mpr2et.add(gdstk.Label('Y1', (18.105,2.295), layer=68, texttype=5))
sky130_osu_single_mpr2et.add(gdstk.Label('sel', (13.965,4.175), layer=69, texttype=5))

lib.write_gds('sky130_osu_single_mpr2et_8_b0r1.gds')
